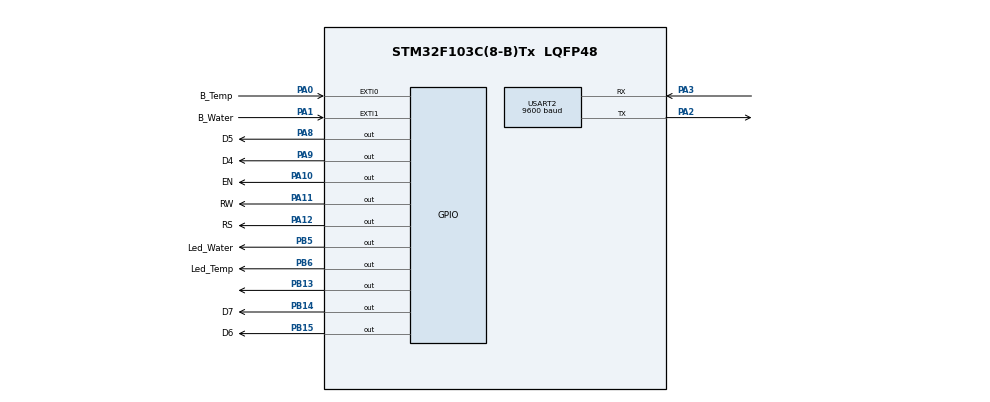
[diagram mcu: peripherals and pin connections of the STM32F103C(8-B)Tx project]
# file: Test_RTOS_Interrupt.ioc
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FREERTOS.BinarySemaphores01=myBinarySem01,Dynamic,NULL
FREERTOS.CountingSemaphores01=myCountingSem01,5,Dynamic,NULL
FREERTOS.Queues01=myQueueData,16,uint16_t,0,Dynamic,NULL,NULL
FREERTOS.Tasks01=defaultTask,24,128,StartDefaultTask,Default,NULL,Dynamic,NULL,NULL
FREERTOS.configTOTAL_HEAP_SIZE=8192
FREERTOS.configUSE_NEWLIB_REENTRANT=1
Mcu.Family=STM32F1
Mcu.Name=STM32F103C(8-B)Tx
Mcu.Package=LQFP48
NVIC.EXTI0_IRQn=true\:7\:0\:true\:false\:true\:true\:true\:true\:true
NVIC.EXTI1_IRQn=true\:7\:0\:true\:false\:true\:true\:true\:true\:true
NVIC.PriorityGroup=NVIC_PRIORITYGROUP_4
NVIC.TIM2_IRQn=true\:6\:0\:true\:false\:true\:true\:true\:true\:true
NVIC.TIM4_IRQn=true\:15\:0\:false\:false\:true\:false\:false\:true\:true
NVIC.TimeBase=TIM4_IRQn
NVIC.TimeBaseIP=TIM4
NVIC.USART2_IRQn=true\:9\:0\:true\:false\:true\:true\:true\:true\:true
PA0-WKUP.GPIO_Label=B_Temp
PA0-WKUP.GPIO_ModeDefaultEXTI=GPIO_MODE_IT_FALLING
PA0-WKUP.GPIO_PuPd=GPIO_NOPULL
PA0-WKUP.Signal=GPXTI0
PA1.GPIO_Label=B_Water
PA1.GPIO_ModeDefaultEXTI=GPIO_MODE_IT_FALLING
PA1.GPIO_PuPd=GPIO_NOPULL
PA1.Signal=GPXTI1
PA10.GPIO_Label=EN
PA10.Signal=GPIO_Output
PA11.GPIO_Label=RW
PA11.Signal=GPIO_Output
PA12.GPIO_Label=RS
PA12.Signal=GPIO_Output
PA13.Mode=Serial_Wire
PA13.Signal=SYS_JTMS-SWDIO
PA14.Mode=Serial_Wire
PA14.Signal=SYS_JTCK-SWCLK
PA2.Mode=Asynchronous
PA2.Signal=USART2_TX
PA3.Mode=Asynchronous
PA3.Signal=USART2_RX
PA8.GPIO_Label=D5
PA8.Signal=GPIO_Output
PA9.GPIO_Label=D4
PA9.Signal=GPIO_Output
PB13.Signal=GPIO_Output
PB14.GPIO_Label=D7
PB14.Signal=GPIO_Output
PB15.GPIO_Label=D6
PB15.Signal=GPIO_Output
PB5.GPIO_Label=Led_Water
PB5.Signal=GPIO_Output
PB6.GPIO_Label=Led_Temp
PB6.Signal=GPIO_Output
ProjectManager.HeapSize=0x200
ProjectManager.StackSize=0x400
ProjectManager.TargetToolchain=STM32CubeIDE
RCC.APB1Freq_Value=8000000
RCC.APB2Freq_Value=8000000
TIM2.AutoReloadPreload=TIM_AUTORELOAD_PRELOAD_ENABLE
TIM2.Period=500
TIM2.Prescaler=8000
USART2.BaudRate=9600
USART2.StopBits=STOPBITS_2
USART2.VirtualMode=VM_ASYNC
VP_FREERTOS_VS_CMSIS_V2.Mode=CMSIS_V2
VP_SYS_VS_tim4.Mode=TIM4
VP_TIM2_VS_ClockSourceINT.Mode=Internal
board=custom

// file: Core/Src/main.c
/* USER CODE BEGIN Header */
/**
  ******************************************************************************
  * @file           : main.c
  * @brief          : Main program body
  ******************************************************************************
  * @attention
  *
  * Copyright (c) 2023 STMicroelectronics.
  * All rights reserved.
  *
  * This software is licensed under terms that can be found in the LICENSE file
  * in the root directory of this software component.
  * If no LICENSE file comes with this software, it is provided AS-IS.
  *
  ******************************************************************************
  */
/* USER CODE END Header */
#include "main.h"
#include "cmsis_os.h"

/* USER CODE BEGIN Includes */
#include "task.h"
#include "queue.h"
#include "semphr.h"
#include "stdio.h"
#include "string.h"
#include "modbus.h"
#include "Lcd.h"

/* USER CODE END Includes */

/* USER CODE BEGIN PD */
#define MODBUS_RTU_MIN_LENGTH 7
#define MODBUS_RTU_MAX_LENGTH 32
/* USER CODE END PD */

TIM_HandleTypeDef htim2;

UART_HandleTypeDef huart2;

/* Definitions for defaultTask */
osThreadId_t defaultTaskHandle;
const osThreadAttr_t defaultTask_attributes = {
  .name = "defaultTask",
  .stack_size = 128 * 4,
  .priority = (osPriority_t) osPriorityNormal,
};
/* Definitions for myQueueData */
osMessageQueueId_t myQueueDataHandle;
const osMessageQueueAttr_t myQueueData_attributes = {
  .name = "myQueueData"
};
/* Definitions for myBinarySem01 */
osSemaphoreId_t myBinarySem01Handle;
const osSemaphoreAttr_t myBinarySem01_attributes = {
  .name = "myBinarySem01"
};
/* Definitions for myCountingSem01 */
osSemaphoreId_t myCountingSem01Handle;
const osSemaphoreAttr_t myCountingSem01_attributes = {
  .name = "myCountingSem01"
};
/* USER CODE BEGIN PV */
uint16_t Data_16[2];
uint32_t Data_32;
uint8_t buffer[9];
uint8_t rxData, request_index = 0;
uint8_t rx_data[MODBUS_RTU_MAX_LENGTH];
int rx_index = 0;
uint16_t rx_length = 0;
uint16_t Error_Stat, Error_Cod, Error_T, Error_H,Error_Device;
float Temp, RH;
int i = 0, a = 0;
char LCD_Send[30];
CLCD_Name LCD1;

/* USER CODE END PV */

void SystemClock_Config(void);
static void MX_GPIO_Init(void);
static void MX_USART2_UART_Init(void);
static void MX_TIM2_Init(void);
void StartDefaultTask(void *argument);

/* USER CODE BEGIN 0 */
void HAL_UART_RxCpltCallback(UART_HandleTypeDef *huart)
{
	if(huart->Instance == huart2.Instance)
	{
		static BaseType_t xHigherPriorityTaskWoken;
		xHigherPriorityTaskWoken = pdFALSE;
		xQueueSendFromISR(myQueueDataHandle,&buffer,NULL);
		xSemaphoreGiveFromISR(myCountingSem01Handle,&xHigherPriorityTaskWoken);
		HAL_UART_Receive_IT(&huart2, buffer, 1);
	}
}
void HAL_GPIO_EXTI_Callback(uint16_t GPIO_Pin)
{
	if (GPIO_Pin == B_Temp_Pin)
	{
		 static uint32_t last_interrupt_time = 0;
		 uint32_t current_time = HAL_GetTick();
		 if ((current_time - last_interrupt_time) > 200)
		 {
//			 a = 1;
			 Send_Error_Status();
			 HAL_GPIO_WritePin(GPIOB, Led_Temp_Pin, GPIO_PIN_SET);
//			 HAL_GPIO_TogglePin(GPIOB, Led_Temp_Pin);
		 }
		 last_interrupt_time = current_time;
	}
	else if (GPIO_Pin == B_Water_Pin)
	{
		static uint32_t last_interrupt_time = 0;
		uint32_t current_time = HAL_GetTick();
		if ((current_time - last_interrupt_time) > 200)
		{
			Send_Error_Status();
			HAL_GPIO_WritePin(GPIOB, Led_Water_Pin, GPIO_PIN_SET);
//			HAL_GPIO_TogglePin(GPIOB, Led_Water_Pin);
		}
		last_interrupt_time = current_time;
	}
}

/* USER CODE END 0 */

int main(void)
{

  /* MCU Configuration--------------------------------------------------------*/

  /* Reset of all peripherals, Initializes the Flash interface and the Systick. */
  HAL_Init();

  /* Configure the system clock */
  SystemClock_Config();

  /* Initialize all configured peripherals */
  MX_GPIO_Init();
  MX_USART2_UART_Init();
  MX_TIM2_Init();
  /* USER CODE BEGIN 2 */
  CLCD_4BIT_Init(&LCD1, 16, 2, RS_GPIO_Port, RS_Pin, EN_GPIO_Port, EN_Pin,
    									D4_GPIO_Port, D4_Pin, D5_GPIO_Port, D5_Pin,
    									D6_GPIO_Port, D6_Pin, D7_GPIO_Port, D7_Pin);
  HAL_UART_Receive_IT(&huart2, buffer, 1);
  HAL_TIM_Base_Start_IT(&htim2);
  HAL_GPIO_WritePin(GPIOB, GPIO_PIN_13, GPIO_PIN_SET);

  /* USER CODE END 2 */

  /* Init scheduler */
  osKernelInitialize();

  /* Create the semaphores(s) */
  /* creation of myBinarySem01 */
  myBinarySem01Handle = osSemaphoreNew(1, 1, &myBinarySem01_attributes);

  /* creation of myCountingSem01 */
  myCountingSem01Handle = osSemaphoreNew(5, 5, &myCountingSem01_attributes);

  /* Create the queue(s) */
  /* creation of myQueueData */
  myQueueDataHandle = osMessageQueueNew (16, sizeof(uint16_t), &myQueueData_attributes);

  /* Create the thread(s) */
  /* creation of defaultTask */
  defaultTaskHandle = osThreadNew(StartDefaultTask, NULL, &defaultTask_attributes);

  /* Start scheduler */
  osKernelStart();

  /* We should never get here as control is now taken by the scheduler */
  /* Infinite loop */
  while (1)
  {

  }
}

void SystemClock_Config(void)
{
  RCC_OscInitTypeDef RCC_OscInitStruct = {0};
  RCC_ClkInitTypeDef RCC_ClkInitStruct = {0};

  /** Initializes the RCC Oscillators according to the specified parameters
  * in the RCC_OscInitTypeDef structure.
  */
  RCC_OscInitStruct.OscillatorType = RCC_OSCILLATORTYPE_HSI;
  RCC_OscInitStruct.HSIState = RCC_HSI_ON;
  RCC_OscInitStruct.HSICalibrationValue = RCC_HSICALIBRATION_DEFAULT;
  RCC_OscInitStruct.PLL.PLLState = RCC_PLL_NONE;
  if (HAL_RCC_OscConfig(&RCC_OscInitStruct) != HAL_OK)
  {
    Error_Handler();
  }

  /** Initializes the CPU, AHB and APB buses clocks
  */
  RCC_ClkInitStruct.ClockType = RCC_CLOCKTYPE_HCLK|RCC_CLOCKTYPE_SYSCLK
                              |RCC_CLOCKTYPE_PCLK1|RCC_CLOCKTYPE_PCLK2;
  RCC_ClkInitStruct.SYSCLKSource = RCC_SYSCLKSOURCE_HSI;
  RCC_ClkInitStruct.AHBCLKDivider = RCC_SYSCLK_DIV1;
  RCC_ClkInitStruct.APB1CLKDivider = RCC_HCLK_DIV1;
  RCC_ClkInitStruct.APB2CLKDivider = RCC_HCLK_DIV1;

  if (HAL_RCC_ClockConfig(&RCC_ClkInitStruct, FLASH_LATENCY_0) != HAL_OK)
  {
    Error_Handler();
  }
}

static void MX_TIM2_Init(void)
{

  TIM_ClockConfigTypeDef sClockSourceConfig = {0};
  TIM_MasterConfigTypeDef sMasterConfig = {0};

  htim2.Instance = TIM2;
  htim2.Init.Prescaler = 8000;
  htim2.Init.CounterMode = TIM_COUNTERMODE_UP;
  htim2.Init.Period = 5000;
  htim2.Init.ClockDivision = TIM_CLOCKDIVISION_DIV1;
  htim2.Init.AutoReloadPreload = TIM_AUTORELOAD_PRELOAD_ENABLE;
  if (HAL_TIM_Base_Init(&htim2) != HAL_OK)
  {
    Error_Handler();
  }
  sClockSourceConfig.ClockSource = TIM_CLOCKSOURCE_INTERNAL;
  if (HAL_TIM_ConfigClockSource(&htim2, &sClockSourceConfig) != HAL_OK)
  {
    Error_Handler();
  }
  sMasterConfig.MasterOutputTrigger = TIM_TRGO_RESET;
  sMasterConfig.MasterSlaveMode = TIM_MASTERSLAVEMODE_DISABLE;
  if (HAL_TIMEx_MasterConfigSynchronization(&htim2, &sMasterConfig) != HAL_OK)
  {
    Error_Handler();
  }

}

static void MX_USART2_UART_Init(void)
{

  huart2.Instance = USART2;
  huart2.Init.BaudRate = 9600;
  huart2.Init.WordLength = UART_WORDLENGTH_8B;
  huart2.Init.StopBits = UART_STOPBITS_2;
  huart2.Init.Parity = UART_PARITY_NONE;
  huart2.Init.Mode = UART_MODE_TX_RX;
  huart2.Init.HwFlowCtl = UART_HWCONTROL_NONE;
  huart2.Init.OverSampling = UART_OVERSAMPLING_16;
  if (HAL_UART_Init(&huart2) != HAL_OK)
  {
    Error_Handler();
  }

}

static void MX_GPIO_Init(void)
{
  GPIO_InitTypeDef GPIO_InitStruct = {0};

  /* GPIO Ports Clock Enable */
  __HAL_RCC_GPIOA_CLK_ENABLE();
  __HAL_RCC_GPIOB_CLK_ENABLE();

  /*Configure GPIO pin Output Level */
  HAL_GPIO_WritePin(GPIOB, GPIO_PIN_13|D7_Pin|D6_Pin|Led_Water_Pin
                          |Led_Temp_Pin, GPIO_PIN_RESET);

  /*Configure GPIO pin Output Level */
  HAL_GPIO_WritePin(GPIOA, D5_Pin|D4_Pin|EN_Pin|RW_Pin
                          |RS_Pin, GPIO_PIN_RESET);

  /*Configure GPIO pins : B_Temp_Pin B_Water_Pin */
  GPIO_InitStruct.Pin = B_Temp_Pin|B_Water_Pin;
  GPIO_InitStruct.Mode = GPIO_MODE_IT_FALLING;
  GPIO_InitStruct.Pull = GPIO_NOPULL;
  HAL_GPIO_Init(GPIOA, &GPIO_InitStruct);

  /*Configure GPIO pins : PB13 D7_Pin D6_Pin Led_Water_Pin
                           Led_Temp_Pin */
  GPIO_InitStruct.Pin = GPIO_PIN_13|D7_Pin|D6_Pin|Led_Water_Pin
                          |Led_Temp_Pin;
  GPIO_InitStruct.Mode = GPIO_MODE_OUTPUT_PP;
  GPIO_InitStruct.Pull = GPIO_NOPULL;
  GPIO_InitStruct.Speed = GPIO_SPEED_FREQ_LOW;
  HAL_GPIO_Init(GPIOB, &GPIO_InitStruct);

  /*Configure GPIO pins : D5_Pin D4_Pin EN_Pin RW_Pin
                           RS_Pin */
  GPIO_InitStruct.Pin = D5_Pin|D4_Pin|EN_Pin|RW_Pin
                          |RS_Pin;
  GPIO_InitStruct.Mode = GPIO_MODE_OUTPUT_PP;
  GPIO_InitStruct.Pull = GPIO_NOPULL;
  GPIO_InitStruct.Speed = GPIO_SPEED_FREQ_LOW;
  HAL_GPIO_Init(GPIOA, &GPIO_InitStruct);

  /* EXTI interrupt init*/
  HAL_NVIC_SetPriority(EXTI0_IRQn, 7, 0);
  HAL_NVIC_EnableIRQ(EXTI0_IRQn);

  HAL_NVIC_SetPriority(EXTI1_IRQn, 8, 0);
  HAL_NVIC_EnableIRQ(EXTI1_IRQn);

}

/* USER CODE BEGIN 4 */
void Process_Modbus(void)
{
	switch(i)
	{
	case 0:
		Error_Stat = Receive_Error_Status(Data_16[0]);
		if (Error_Stat == Have_Errors)
		{
			memset(rx_data, 0, sizeof(rx_data));
			CLCD_SetCursor(&LCD1, 0, 0);
			CLCD_WriteString(&LCD1,"Have Errors");
			osDelay(2000);
			Send_Error_Code();
			i = 1;
		}
		else // Read Temp
		{
//			CLCD_SetCursor(&LCD1, 0, 0);
//			CLCD_WriteString(&LCD1,"No Errors");
//			osDelay(1000);
			memset(rx_data, 0, sizeof(rx_data));
			Read_Temp();
			i = 2;
		}
		break;

	// Check Error code
	case 1:
		Error_Cod = Receive_Error_Code(Data_16[0]);
		// Display error
		if (Error_Cod == Temp_Measur_Err)
		{
			CLCD_SetCursor(&LCD1, 0, 0);
			CLCD_WriteString(&LCD1,"Temp Measure Err");
			osDelay(2000);
			memset(rx_data, 0, sizeof(rx_data));
			Send_Error_Temp();
			i = 3;
			}
		else if (Error_Cod == Hum_Measur_Err)
		{
			CLCD_SetCursor(&LCD1, 0, 0);
			CLCD_WriteString(&LCD1,"Humi Measure Err");
			osDelay(2000);
			memset(rx_data, 0, sizeof(rx_data));
			Send_Error_RH();
			i = 4;
		}
		else if (Error_Cod == Humi_Sen_Fail)
		{
			CLCD_SetCursor(&LCD1, 0, 0);
			CLCD_WriteString(&LCD1,"Humi Sensor Fail ");
			osDelay(2000);
			memset(rx_data, 0, sizeof(rx_data));
			Send_Error_Device();
			i = 5;
		}
		break;

	// Read Temp
	case 2:
		Temp = unpack754_32(Data_32);
//		if (a == 1)
//		{
//			sprintf(LCD_Send,"Temp: %.2f oC",Temp );
//			CLCD_SetCursor(&LCD1, 0, 0);
//			CLCD_WriteString(&LCD1, LCD_Send);
//			a = 0;
//		}
		memset(rx_data, 0, sizeof(rx_data));
		Read_Water();
		i = 6;
		break;

	// Read Error Temperature measurement
	case 3:
		Error_T = Receive_Error_Temp(Data_16[0]);
		// Display error
		memset(rx_data, 0, sizeof(rx_data));
		break;

	// Read Error RH measurement
	case 4:
		Error_H = Receive_Error_RH(Data_16[0]);
		// Display error
		memset(rx_data, 0, sizeof(rx_data));
		break;

	// Read error device
	case 5:
		Error_Device = Receive_Error_Device(Data_16[0]);
		// Display error
		memset(rx_data, 0, sizeof(rx_data));
		break;

	// Read RH
	case 6:
		RH =  unpack754_32(Data_32);
//		if (a == 0)
//		{
//			sprintf(LCD_Send,"Water: %.2f ppm",RH );
//			CLCD_SetCursor(&LCD1, 0, 0);
//			CLCD_WriteString(&LCD1, LCD_Send);
//			CLCD_Clear(&LCD1);
//			a = 0;
//		}
		HAL_GPIO_WritePin(GPIOB, Led_Water_Pin|Led_Temp_Pin, GPIO_PIN_RESET);
		memset(rx_data, 0, sizeof(rx_data));
		i = 0;
	}
}

/* USER CODE END 4 */

void StartDefaultTask(void *argument)
{
  /* USER CODE BEGIN 5 */
  /* Infinite loop */
	while(xSemaphoreTake(myCountingSem01Handle,portMAX_DELAY))
		{
			if (xQueueReceive(myQueueDataHandle, &rxData, portMAX_DELAY))
			{
				rx_data[rx_index++] = rxData;
				rx_length++;
				if (rx_length >= 7 && checkcrc16(rx_data, rx_index) == 1)
				{
					Data_16[0] = rx_data[3]<<8 | rx_data[4];
					Data_16[1] = rx_data[5]<<8 | rx_data[6];
					Data_32 = Data_16[1]<<16 | Data_16[0];
					Process_Modbus();
					rx_index = 0;
					rx_length = 0;
				}
			}
		}
  /* USER CODE END 5 */
}

void HAL_TIM_PeriodElapsedCallback(TIM_HandleTypeDef *htim)
{
  if (htim->Instance == TIM4) {
    HAL_IncTick();
  }
  /* USER CODE BEGIN Callback 1 */
//  if (htim->Instance == TIM2) {
//	Send_Error_Status();
//    HAL_GPIO_TogglePin(GPIOB, GPIO_PIN_13);
//  }

  /* USER CODE END Callback 1 */
}

void Error_Handler(void)
{
  __disable_irq();
  while (1)
  {
  }
}
